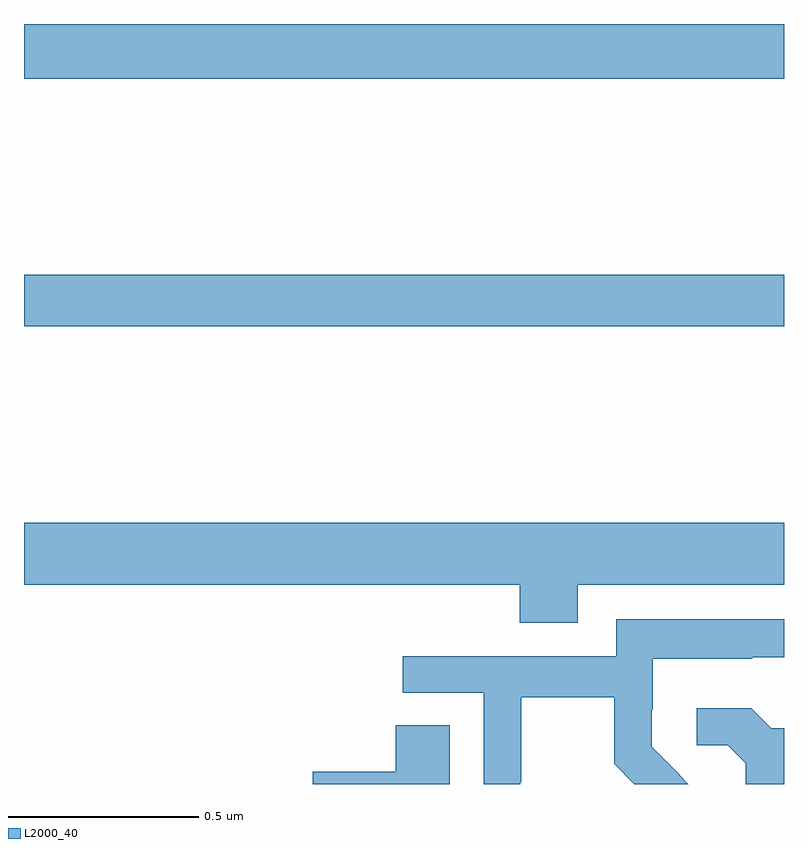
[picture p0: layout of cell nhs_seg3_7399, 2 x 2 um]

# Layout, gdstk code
import gdstk
lib = gdstk.Library(unit=1e-6, precision=1e-09)
def R(c, l, rs):  # rectangles x0, y0, x1, y1
    for r in rs: c.add(gdstk.rectangle(r[:2], r[2:], *l))
def P(c, l, *ps):  # polygons
    for p in ps: c.add(gdstk.Polygon(p, *l))
L2000_40 = (2000, 40)

nhs_seg3_7399 = lib.new_cell('nhs_seg3_7399')
R(nhs_seg3_7399, L2000_40, [(203,693.604,205,693.74), (203,694.256,205,694.4)])
P(nhs_seg3_7399, L2000_40, [(204.457,692.924),(205,692.924),(205,693.088),(203,693.088),(203,692.924),(204.305,692.924),(204.305,692.825),(204.457,692.825)],
  [(204.306,692.404),(204.309,692.404),(204.309,692.628),(204.553,692.628),(204.553,692.453),(204.606,692.4),(204.748,692.4),(204.725,692.423),(204.726,692.424),(204.652,692.498),(204.652,692.595),(204.654,692.595),(204.654,692.729),(204.917,692.729),(204.917,692.733),(205,692.733),(205,692.833),(204.558,692.833),(204.558,692.736),(203.997,692.736),(203.997,692.64),(204.21,692.64),(204.21,692.4),(204.306,692.4)],
  [(205,692.547),(204.966,692.547),(204.914,692.599),(204.771,692.599),(204.771,692.502),(204.852,692.502),(204.899,692.455),(204.899,692.4),(205,692.4)],
  [(204.121,692.555),(203.978,692.555),(203.978,692.432),(203.76,692.432),(203.76,692.4),(204.121,692.4)])

lib.write_gds('nhs_seg3_7399.gds')
